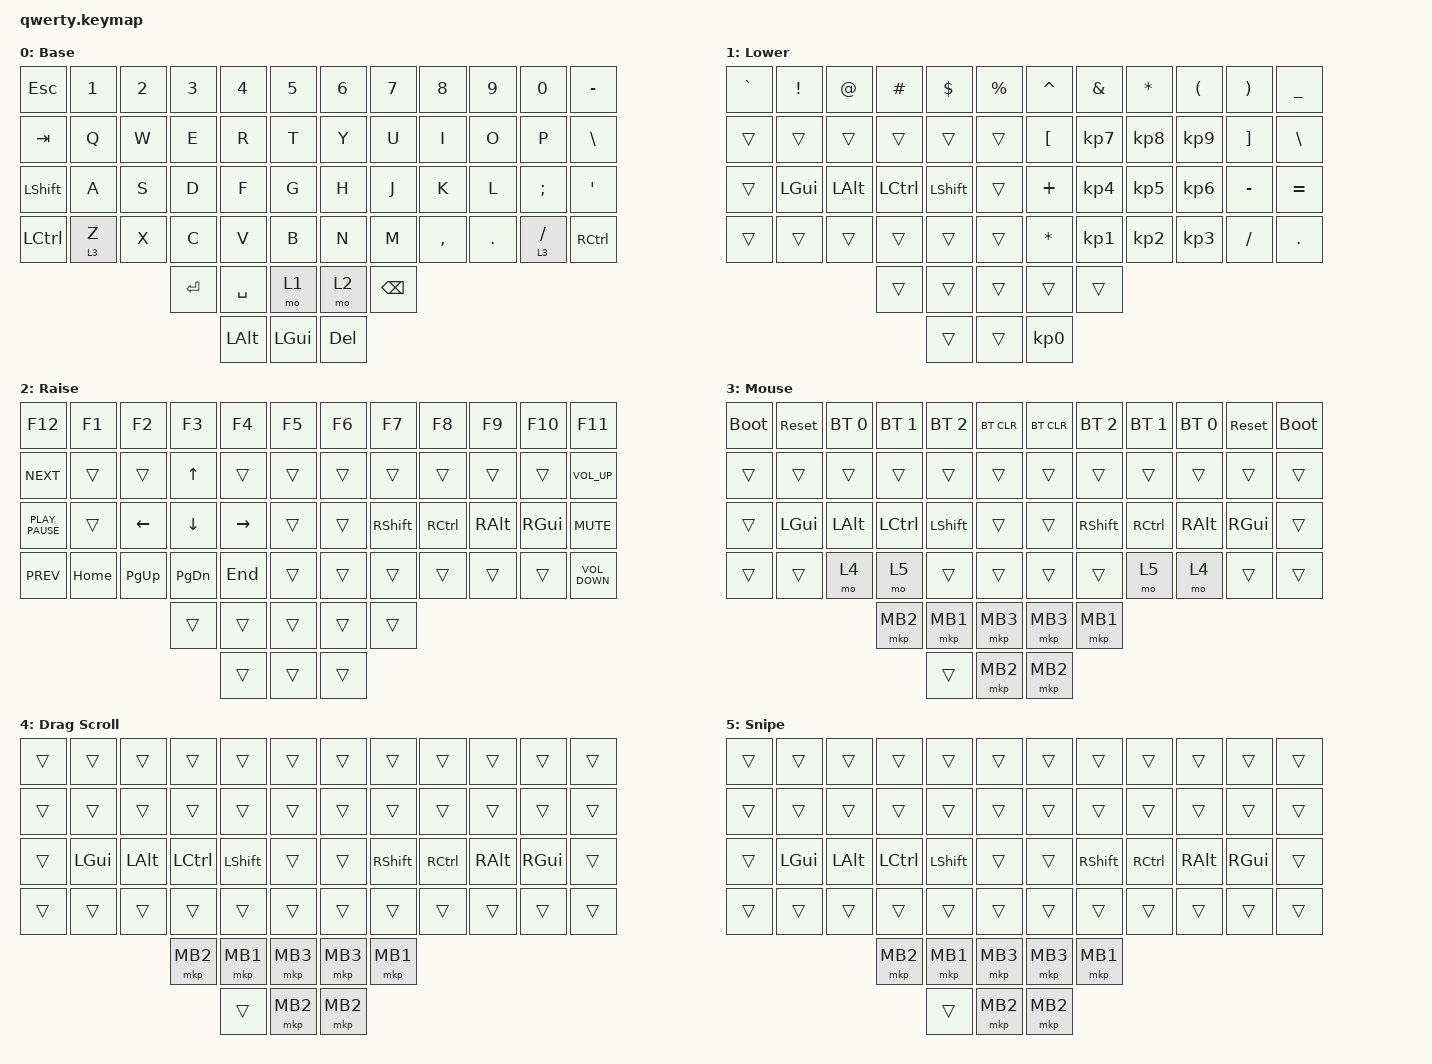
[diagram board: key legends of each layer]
/* upstream bindings and behaviors */
#include <behaviors.dtsi>
#include <dt-bindings/zmk/bt.h>
#include <dt-bindings/zmk/keys.h>
#include <dt-bindings/zmk/mouse.h>
#include <dt-bindings/zmk/outputs.h>
/* #include <behaviors/mouse_keys.dtsi> */
#include <dt-bindings/zmk/ext_power.h>

/* local overlays */
#include "macros.dtsi"
#include "behaviors.dtsi"
#include "combos.dtsi"


/ {
/* --- KEYMAP CONFIG --- */
// ╭──────┬──────┬──────┬──────┬──────┬──────╮  ╭──────┬──────┬──────┬──────┬──────┬──────╮
//    00     01     02     03    04      05        06     07     08     09     10     11
// ├──────┼──────┼──────┼──────┼──────┼──────┤  ├──────┼──────┼──────┼──────┼──────┼──────┤
//    12     13     14     15     16     17        18     19     20     21     22     23
// ├──────┼──────┼──────┼──────┼──────┼──────┤  ├──────┼──────┼──────┼──────┼──────┼──────┤
//    24     25     26     27     28     29        30     31     32     33     34     35
// ├──────┼──────┼──────┼──────┼──────┼──────┤  ├──────┼──────┼──────┼──────┼──────┼──────┤
//    36     37     38     39     40     41        42     43     44     45     46     47 
// ╰──────┴──────┴──────┼──────┼──────┼──────┤  ├──────┼──────┼──────┴──────┴──────┴──────╯
//                         48     49     50        51     52 
//                      ╰──────┴──────┴──────╯  ╰──────┴──────╯
// #define BASE    0
// #define LOWER   1
// #define RAISE   2
// #define MOUSE   3
// #define SLOW    6
// #define SCROLL  7

    keymap {
        compatible = "zmk,keymap";

        Base {
            bindings = <
&kp ESCAPE      &kp N1   &kp NUMBER_2  &kp NUMBER_3  &kp NUMBER_4  &kp NUMBER_5    &kp N6      &kp N7         &kp N8     &kp N9   &kp N0      &kp MINUS
&kp TAB         &kp Q    &kp W         &kp E         &kp R         &kp T           &kp Y       &kp U          &kp I      &kp O    &kp P       &kp BACKSLASH
&kp LEFT_SHIFT  &kp A    &kp S         &kp D         &kp F         &kp G           &kp H       &kp J          &kp K      &kp L    &kp SEMI    &kp APOS
&kp LCTRL       &lt 3 Z  &kp X         &kp C         &kp V         &kp B           &kp N       &kp M          &kp COMMA  &kp DOT  &lt 3 FSLH  &kp RCTRL
                                       &kp ENTER     &kp SPACE     &mo 1           &mo 2       &kp BACKSPACE
                                                     &kp LEFT_ALT  &kp LGUI        &kp DELETE
            >;
        };

        Lower {
            bindings = <
&kp GRAVE  &kp EXCL  &kp AT        &kp POUND  &kp DLLR   &kp PRCNT    &kp CARET        &kp AMPS         &kp ASTRK        &kp LPAR         &kp RPAR   &kp UNDER
&trans     &trans    &trans        &trans     &trans     &trans       &kp LBKT         &kp KP_NUMBER_7  &kp KP_NUMBER_8  &kp KP_NUMBER_9  &kp RBKT   &kp BACKSLASH
&trans     &kp LGUI  &kp LEFT_ALT  &kp LCTRL  &kp LSHFT  &trans       &kp PLUS         &kp KP_NUMBER_4  &kp KP_NUMBER_5  &kp KP_NUMBER_6  &kp MINUS  &kp EQUAL
&trans     &trans    &trans        &trans     &trans     &trans       &kp ASTERISK     &kp KP_NUMBER_1  &kp KP_NUMBER_2  &kp KP_NUMBER_3  &kp SLASH  &kp DOT
                                   &trans     &trans     &trans       &trans           &trans
                                              &trans     &trans       &kp KP_NUMBER_0
            >;
        };

        Raise {
            bindings = <
&kp F12           &kp F1    &kp F2          &kp F3         &kp F4           &kp F5    &kp F6  &kp F7      &kp F8     &kp F9         &kp F10   &kp F11
&kp K_NEXT        &trans    &trans          &kp UP         &trans           &trans    &trans  &trans      &trans     &trans         &trans    &kp K_VOLUME_UP
&kp K_PLAY_PAUSE  &trans    &kp LEFT_ARROW  &kp DOWN       &kp RIGHT_ARROW  &trans    &trans  &kp RSHIFT  &kp RCTRL  &kp RIGHT_ALT  &kp RGUI  &kp K_MUTE
&kp K_PREV        &kp HOME  &kp PG_UP       &kp PAGE_DOWN  &kp END          &trans    &trans  &trans      &trans     &trans         &trans    &kp K_VOLUME_DOWN
                                            &trans         &trans           &trans    &trans  &trans
                                                           &trans           &trans    &trans
            >;
        };

        Mouse {
            bindings = <
&bootloader  &sys_reset  &bt BT_SEL 0  &bt BT_SEL 1  &bt BT_SEL 2  &bt BT_CLR    &bt BT_CLR  &bt BT_SEL 2  &bt BT_SEL 1  &bt BT_SEL 0  &sys_reset  &bootloader
&trans       &trans      &trans        &trans        &trans        &trans        &trans      &trans        &trans        &trans        &trans      &trans
&trans       &kp LGUI    &kp LALT      &kp LCTRL     &kp LSHIFT    &trans        &trans      &kp RSHFT     &kp RCTRL     &kp RALT      &kp RGUI    &trans
&trans       &trans      &mo 4         &mo 5         &trans        &trans        &trans      &trans        &mo 5         &mo 4         &trans      &trans
                                       &mkp MB2      &mkp MB1      &mkp MB3      &mkp MB3    &mkp MB1
                                                     &trans        &mkp MB2      &mkp MB2
            >;
        };

        Ds {
            bindings = <
&trans  &trans    &trans    &trans     &trans      &trans      &trans    &trans      &trans     &trans         &trans    &trans
&trans  &trans    &trans    &trans     &trans      &trans      &trans    &trans      &trans     &trans         &trans    &trans
&trans  &kp LGUI  &kp LALT  &kp LCTRL  &kp LSHIFT  &trans      &trans    &kp RSHIFT  &kp RCTRL  &kp RIGHT_ALT  &kp RGUI  &trans
&trans  &trans    &trans    &trans     &trans      &trans      &trans    &trans      &trans     &trans         &trans    &trans
                            &mkp MB2   &mkp MB1    &mkp MB3    &mkp MB3  &mkp MB1
                                       &trans      &mkp MB2    &mkp MB2
            >;

            label = "Drag Scroll";
        };

        Snipe {
            bindings = <
&trans  &trans    &trans    &trans     &trans      &trans      &trans    &trans      &trans     &trans         &trans    &trans
&trans  &trans    &trans    &trans     &trans      &trans      &trans    &trans      &trans     &trans         &trans    &trans
&trans  &kp LGUI  &kp LALT  &kp LCTRL  &kp LSHIFT  &trans      &trans    &kp RSHIFT  &kp RCTRL  &kp RIGHT_ALT  &kp RGUI  &trans
&trans  &trans    &trans    &trans     &trans      &trans      &trans    &trans      &trans     &trans         &trans    &trans
                            &mkp MB2   &mkp MB1    &mkp MB3    &mkp MB3  &mkp MB1
                                       &trans      &mkp MB2    &mkp MB2
            >;
        };
    };
};
